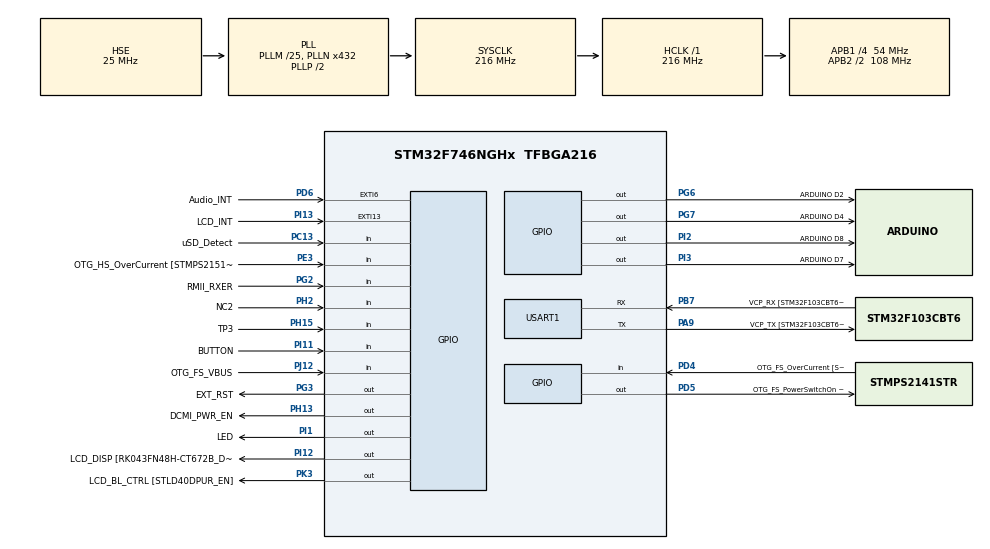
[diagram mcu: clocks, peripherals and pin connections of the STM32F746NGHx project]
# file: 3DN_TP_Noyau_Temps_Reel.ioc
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FREERTOS.Tasks01=defaultTask,0,128,StartDefaultTask,Default,NULL,Dynamic,NULL,NULL
FREERTOS.configCHECK_FOR_STACK_OVERFLOW=2
FREERTOS.configGENERATE_RUN_TIME_STATS=1
FREERTOS.configUSE_STATS_FORMATTING_FUNCTIONS=1
FREERTOS.configUSE_TRACE_FACILITY=1
Mcu.Family=STM32F7
Mcu.Name=STM32F746NGHx
Mcu.Package=TFBGA216
NVIC.PriorityGroup=NVIC_PRIORITYGROUP_4
PA0/WKUP.GPIO_Label=ARDUINO A0
PA0/WKUP.GPIO_Mode=GPIO_MODE_ANALOG
PA0/WKUP.GPIO_PuPd=GPIO_NOPULL
PA0/WKUP.Signal=ADCx_IN0
PA1.GPIO_Label=RMII_REF_CLK [LAN8742A-CZ-TR_REFCLK0]
PA1.Signal=ETH_REF_CLK
PA10.GPIO_Label=OTG_FS_ID
PA10.Signal=USB_OTG_FS_ID
PA11.GPIO_Label=OTG_FS_N
PA11.Signal=USB_OTG_FS_DM
PA12.GPIO_Label=OTG_FS_P
PA12.Signal=USB_OTG_FS_DP
PA13.GPIO_Label=SWDIO
PA13.Mode=Trace_Asynchronous_SW
PA13.Signal=SYS_JTMS-SWDIO
PA14.GPIO_Label=SWCLK
PA14.Mode=Trace_Asynchronous_SW
PA14.Signal=SYS_JTCK-SWCLK
PA15.GPIO_Label=ARDUINO PWM/D9
PA15.GPIO_ModeDefaultPP=GPIO_MODE_AF_PP
PA15.GPIO_PuPd=GPIO_NOPULL
PA15.GPIO_Speed=GPIO_SPEED_FREQ_LOW
PA15.Signal=S_TIM2_CH1_ETR
PA2.GPIO_Label=RMII_MDIO [LAN8742A-CZ-TR_MDIO]
PA2.Signal=ETH_MDIO
PA3.GPIO_Label=ULPI_D0 [USB3320C-EZK_D0]
PA3.Signal=USB_OTG_HS_ULPI_D0
PA4.GPIO_Label=DCMI_HSYNC
PA4.Signal=DCMI_HSYNC
PA5.GPIO_Label=ULPI_CLK [USB3320C-EZK_CLKOUT]
PA5.Signal=USB_OTG_HS_ULPI_CK
PA6.Signal=DCMI_PIXCLK
PA7.GPIO_Label=RMII_CRS_DV [LAN8742A-CZ-TR_CRS_DV]
PA7.Signal=ETH_CRS_DV
PA8.GPIO_Label=ARDUINO PWM/D10
PA8.GPIO_ModeDefaultPP=GPIO_MODE_AF_PP
PA8.GPIO_PuPd=GPIO_NOPULL
PA8.GPIO_Speed=GPIO_SPEED_FREQ_LOW
PA8.Signal=S_TIM1_CH1
PA9.GPIO_Label=VCP_TX [STM32F103CBT6_PA3]
PA9.GPIO_Mode=GPIO_MODE_AF_PP
PA9.GPIO_PuPd=GPIO_NOPULL
PA9.GPIO_Speed=GPIO_SPEED_FREQ_LOW
PA9.Mode=Asynchronous
PA9.Signal=USART1_TX
PB0.GPIO_Label=ULPI_D1 [USB3320C-EZK_D1]
PB0.Signal=USB_OTG_HS_ULPI_D1
PB1.GPIO_Label=ULPI_D2 [USB3320C-EZK_D2]
PB1.Signal=USB_OTG_HS_ULPI_D2
PB10.GPIO_Label=ULPI_D3 [USB3320C-EZK_D3]
PB10.Signal=USB_OTG_HS_ULPI_D3
PB11.GPIO_Label=ULPI_D4 [USB3320C-EZK_D4]
PB11.Signal=USB_OTG_HS_ULPI_D4
PB12.GPIO_Label=ULPI_D5 [USB3320C-EZK_D5]
PB12.Signal=USB_OTG_HS_ULPI_D5
PB13.GPIO_Label=ULPI_D6 [USB3320C-EZK_D6]
PB13.Signal=USB_OTG_HS_ULPI_D6
PB14.GPIO_Label=ARDUINO MISO/D12
PB14.GPIO_Mode=GPIO_MODE_AF_PP
PB14.GPIO_PuPd=GPIO_NOPULL
PB14.GPIO_Speed=GPIO_SPEED_FREQ_LOW
PB14.Signal=SPI2_MISO
PB15.GPIO_Label=ARDUINO MOSI/PWM/D11
PB15.GPIO_Mode=GPIO_MODE_AF_PP
PB15.GPIO_PuPd=GPIO_NOPULL
PB15.GPIO_Speed=GPIO_SPEED_FREQ_LOW
PB15.Signal=SPI2_MOSI
PB2.Signal=QUADSPI_CLK
PB3.GPIO_Label=SWO
PB3.Mode=Trace_Asynchronous_SW
PB3.Signal=SYS_JTDO-SWO
PB4.GPIO_Label=ARDUINO PWM/D3
PB4.GPIO_ModeDefaultPP=GPIO_MODE_AF_PP
PB4.GPIO_PuPd=GPIO_NOPULL
PB4.GPIO_Speed=GPIO_SPEED_FREQ_LOW
PB4.Signal=S_TIM3_CH1
PB5.GPIO_Label=ULPI_D7 [USB3320C-EZK_D7]
PB5.Signal=USB_OTG_HS_ULPI_D7
PB6.GPIO_Label=QSPI_NCS [N25Q128A13EF840E_S]
PB6.Signal=QUADSPI_BK1_NCS
PB7.GPIO_Label=VCP_RX [STM32F103CBT6_PA2]
PB7.GPIO_Mode=GPIO_MODE_AF_PP
PB7.GPIO_PuPd=GPIO_NOPULL
PB7.GPIO_Speed=GPIO_SPEED_FREQ_LOW
PB7.Mode=Asynchronous
PB7.Signal=USART1_RX
PB8.GPIO_Label=ARDUINO SCL/D15
PB8.GPIO_Mode=GPIO_MODE_AF_OD
PB8.GPIO_PuPd=GPIO_NOPULL
PB8.GPIO_Speed=GPIO_SPEED_FREQ_LOW
PB8.Signal=I2C1_SCL
PB9.GPIO_Label=ARDUINO SDA/D14
PB9.GPIO_Mode=GPIO_MODE_AF_OD
PB9.GPIO_PuPd=GPIO_NOPULL
PB9.GPIO_Speed=GPIO_SPEED_FREQ_LOW
PB9.Signal=I2C1_SDA
PC0.GPIO_Label=ULPI_STP [USB3320C-EZK_STP]
PC0.Signal=USB_OTG_HS_ULPI_STP
PC1.GPIO_Label=RMII_MDC [LAN8742A-CZ-TR_MDC]
PC1.Signal=ETH_MDC
PC10.GPIO_Label=SDMMC_D2
PC10.Signal=SDMMC1_D2
PC11.GPIO_Label=SDMMC_D3
PC11.Signal=SDMMC1_D3
PC12.GPIO_Label=SDMMC_CK
PC12.Signal=SDMMC1_CK
PC13.GPIO_Label=uSD_Detect
PC13.Signal=GPIO_Input
PC14/OSC32_IN.GPIO_Label=RCC_OSC32_IN
PC14/OSC32_IN.Mode=LSE-External-Oscillator
PC14/OSC32_IN.Signal=RCC_OSC32_IN
PC15/OSC32_OUT.GPIO_Label=RCC_OSC32_OUT
PC15/OSC32_OUT.Mode=LSE-External-Oscillator
PC15/OSC32_OUT.Signal=RCC_OSC32_OUT
PC2.GPIO_Label=ULPI_DIR [USB3320C-EZK_DIR]
PC2.Signal=USB_OTG_HS_ULPI_DIR
PC3.GPIO_Label=FMC_SDCKE0 [MT48LC4M32B2B5-6A_CKE]
PC3.Signal=FMC_SDCKE0
PC4.GPIO_Label=RMII_RXD0 [LAN8742A-CZ-TR_RXD0]
PC4.Signal=ETH_RXD0
PC5.GPIO_Label=RMII_RXD1 [LAN8742A-CZ-TR_RXD1]
PC5.Signal=ETH_RXD1
PC6.GPIO_Label=ARDUINO TX/D1
PC6.Signal=USART6_TX
PC7.GPIO_Label=ARDUINO RX/D0
PC7.Signal=USART6_RX
PC8.Signal=SDMMC1_D0
PC9.Signal=SDMMC1_D1
PD0.GPIO_Label=FMC_D2 [MT48LC4M32B2B5-6A_DQ2]
PD0.Signal=FMC_D2_DA2
PD1.GPIO_Label=FMC_D3 [MT48LC4M32B2B5-6A_DQ3]
PD1.Signal=FMC_D3_DA3
PD10.GPIO_Label=FMC_D15 [MT48LC4M32B2B5-6A_DQ15]
PD10.Signal=FMC_D15_DA15
PD11.GPIO_Label=QSPI_D0 [N25Q128A13EF840E_DQ0]
PD11.Signal=QUADSPI_BK1_IO0
PD12.GPIO_Label=QSPI_D1 [N25Q128A13EF840E_DQ1]
PD12.Signal=QUADSPI_BK1_IO1
PD13.GPIO_Label=QSPI_D3 [N25Q128A13EF840E_DQ3]
PD13.Signal=QUADSPI_BK1_IO3
PD14.GPIO_Label=FMC_D0 [MT48LC4M32B2B5-6A_DQ0]
PD14.Signal=FMC_D0_DA0
PD15.GPIO_Label=FMC_D1 [MT48LC4M32B2B5-6A_DQ1]
PD15.Signal=FMC_D1_DA1
PD2.GPIO_Label=SDMMC_D0
PD2.Signal=SDMMC1_CMD
PD3.GPIO_Label=DCMI_D5
PD3.Signal=DCMI_D5
PD4.GPIO_Label=OTG_FS_OverCurrent [STMPS2141STR_Fault]
PD4.Signal=GPIO_Input
PD5.GPIO_Label=OTG_FS_PowerSwitchOn [STMPS2141STR_EN]
PD5.PinState=GPIO_PIN_SET
PD5.Signal=GPIO_Output
PD6.GPIO_Label=Audio_INT
PD6.GPIO_ModeDefaultEXTI=GPIO_MODE_EVT_RISING
PD6.Signal=GPXTI6
PD7.GPIO_Label=SPDIF_RX0 [74LVC1G04SE_4]
PD7.Signal=SPDIFRX_IN0
PD8.GPIO_Label=FMC_D13 [MT48LC4M32B2B5-6A_DQ13]
PD8.Signal=FMC_D13_DA13
PD9.GPIO_Label=FMC_D14 [MT48LC4M32B2B5-6A_DQ14]
PD9.Signal=FMC_D14_DA14
PE0.GPIO_Label=FMC_NBL0 [MT48LC4M32B2B5-6A_DQM0]
PE0.Signal=FMC_NBL0
PE1.GPIO_Label=FMC_NBL1 [MT48LC4M32B2B5-6A_DQM1]
PE1.Signal=FMC_NBL1
PE10.GPIO_Label=FMC_D7 [MT48LC4M32B2B5-6A_DQ7]
PE10.Signal=FMC_D7_DA7
PE11.GPIO_Label=FMC_D8 [MT48LC4M32B2B5-6A_DQ8]
PE11.Signal=FMC_D8_DA8
PE12.GPIO_Label=FMC_D9 [MT48LC4M32B2B5-6A_DQ9]
PE12.Signal=FMC_D9_DA9
PE13.GPIO_Label=FMC_D10 [MT48LC4M32B2B5-6A_DQ10]
PE13.Signal=FMC_D10_DA10
PE14.GPIO_Label=FMC_D11 [MT48LC4M32B2B5-6A_DQ11]
PE14.Signal=FMC_D11_DA11
PE15.GPIO_Label=FMC_D12 [MT48LC4M32B2B5-6A_DQ12]
PE15.Signal=FMC_D12_DA12
PE2.GPIO_Label=QSPI_D2 [N25Q128A13EF840E_DQ2]
PE2.Signal=QUADSPI_BK1_IO2
PE3.GPIO_Label=OTG_HS_OverCurrent [STMPS2151STR_FAULT]
PE3.Signal=GPIO_Input
PE4.GPIO_Label=LCD_B0 [RK043FN48H-CT672B_B0]
PE4.Signal=LTDC_B0
PE5.GPIO_Label=DCMI_D6
PE5.Signal=DCMI_D6
PE6.GPIO_Label=DCMI_D7
PE6.Signal=DCMI_D7
PE7.GPIO_Label=FMC_D4 [MT48LC4M32B2B5-6A_DQ4]
PE7.Signal=FMC_D4_DA4
PE8.GPIO_Label=FMC_D5 [MT48LC4M32B2B5-6A_DQ5]
PE8.Signal=FMC_D5_DA5
PE9.GPIO_Label=FMC_D6 [MT48LC4M32B2B5-6A_DQ6]
PE9.Signal=FMC_D6_DA6
PF0.GPIO_Label=FMC_A0 [MT48LC4M32B2B5-6A_A0]
PF0.Signal=FMC_A0
PF1.GPIO_Label=FMC_A1 [MT48LC4M32B2B5-6A_A1]
PF1.Signal=FMC_A1
PF10.GPIO_Label=ARDUINO A1
PF10.GPIO_Mode=GPIO_MODE_ANALOG
PF10.GPIO_PuPd=GPIO_NOPULL
PF10.Signal=ADC3_IN8
PF11.GPIO_Label=FMC_SDNRAS [MT48LC4M32B2B5-6A_RAS]
PF11.Signal=FMC_SDNRAS
PF12.GPIO_Label=FMC_A6 [MT48LC4M32B2B5-6A_A6]
PF12.Signal=FMC_A6
PF13.GPIO_Label=FMC_A7 [MT48LC4M32B2B5-6A_A7]
PF13.Signal=FMC_A7
PF14.GPIO_Label=FMC_A8 [MT48LC4M32B2B5-6A_A8]
PF14.Signal=FMC_A8
PF15.GPIO_Label=FMC_A9 [MT48LC4M32B2B5-6A_A9]
PF15.Signal=FMC_A9
PF2.GPIO_Label=FMC_A2 [MT48LC4M32B2B5-6A_A2]
PF2.Signal=FMC_A2
PF3.GPIO_Label=FMC_A3 [MT48LC4M32B2B5-6A_A3]
PF3.Signal=FMC_A3
PF4.GPIO_Label=FMC_A4 [MT48LC4M32B2B5-6A_A4]
PF4.Signal=FMC_A4
PF5.GPIO_Label=FMC_A5 [MT48LC4M32B2B5-6A_A5]
PF5.Signal=FMC_A5
PF6.GPIO_Label=ARDUINO A5
PF6.GPIO_Mode=GPIO_MODE_ANALOG
PF6.GPIO_PuPd=GPIO_NOPULL
PF6.Signal=ADC3_IN4
PF7.GPIO_Label=ARDUINO A4
PF7.GPIO_Mode=GPIO_MODE_ANALOG
PF7.GPIO_PuPd=GPIO_NOPULL
PF7.Signal=ADC3_IN5
PF8.GPIO_Label=ARDUINO A3
PF8.GPIO_Mode=GPIO_MODE_ANALOG
PF8.GPIO_PuPd=GPIO_NOPULL
PF8.Signal=ADC3_IN6
PF9.GPIO_Label=ARDUINO A2
PF9.GPIO_Mode=GPIO_MODE_ANALOG
PF9.GPIO_PuPd=GPIO_NOPULL
PF9.Signal=ADC3_IN7
PG0.GPIO_Label=FMC_A10 [MT48LC4M32B2B5-6A_A10]
PG0.Signal=FMC_A10
PG1.GPIO_Label=FMC_A11 [MT48LC4M32B2B5-6A_A11]
PG1.Signal=FMC_A11
PG10.GPIO_Label=SAI2_SDB [WM8994ECS/R_ADCDAT1]
PG10.Signal=SAI2_SD_B
PG11.GPIO_Label=RMII_TX_EN [LAN8742A-CZ-TR_TXEN]
PG11.Signal=ETH_TX_EN
PG12.GPIO_Label=LCD_B4 [RK043FN48H-CT672B_B4]
PG12.Signal=LTDC_B4
PG13.GPIO_Label=RMII_TXD0 [LAN8742A-CZ-TR_TXD0]
PG13.Signal=ETH_TXD0
PG14.GPIO_Label=RMII_TXD1 [LAN8742A-CZ-TR_TXD1]
PG14.Signal=ETH_TXD1
PG15.GPIO_Label=FMC_SDNCAS [MT48LC4M32B2B5-6A_CAS]
PG15.Signal=FMC_SDNCAS
PG2.GPIO_Label=RMII_RXER
PG2.Signal=GPIO_Input
PG3.GPIO_Label=EXT_RST
PG3.Signal=GPIO_Output
PG4.GPIO_Label=FMC_BA0 [MT48LC4M32B2B5-6A_BA0]
PG4.Signal=FMC_A14_BA0
PG5.GPIO_Label=FMC_BA1 [MT48LC4M32B2B5-6A_BA1]
PG5.Signal=FMC_A15_BA1
PG6.GPIO_Label=ARDUINO D2
PG6.Signal=GPIO_Output
PG7.GPIO_Label=ARDUINO D4
PG7.Signal=GPIO_Output
PG8.GPIO_Label=FMC_SDCLK [MT48LC4M32B2B5-6A_CLK]
PG8.Signal=FMC_SDCLK
PG9.GPIO_Label=DCMI_VSYNC
PG9.Signal=DCMI_VSYNC
PH0/OSC_IN.GPIO_Label=OSC_25M [NZ2520SB-25.00M_OUT]
PH0/OSC_IN.Mode=HSE-External-Oscillator
PH0/OSC_IN.Signal=RCC_OSC_IN
PH1/OSC_OUT.Mode=HSE-External-Oscillator
PH1/OSC_OUT.Signal=RCC_OSC_OUT
PH10.GPIO_Label=DCMI_D1
PH10.Signal=DCMI_D1
PH11.GPIO_Label=DCMI_D2
PH11.Signal=DCMI_D2
PH12.GPIO_Label=DCMI_D3
PH12.Signal=DCMI_D3
PH13.GPIO_Label=DCMI_PWR_EN
PH13.Signal=GPIO_Output
PH14.GPIO_Label=DCMI_D4
PH14.Signal=DCMI_D4
PH15.GPIO_Label=TP3
PH15.Signal=GPIO_Input
PH2.GPIO_Label=NC2
PH2.Signal=GPIO_Input
PH3.GPIO_Label=FMC_SDNE0 [MT48LC4M32B2B5-6A_CS]
PH3.Signal=FMC_SDNE0
PH4.GPIO_Label=ULPI_NXT [USB3320C-EZK_NXT]
PH4.Signal=USB_OTG_HS_ULPI_NXT
PH5.GPIO_Label=FMC_SDNME [MT48LC4M32B2B5-6A_WE]
PH5.Signal=FMC_SDNWE
PH6.GPIO_Label=ARDUINO PWM/D6
PH6.Signal=S_TIM12_CH1
PH7.GPIO_Label=LCD_SCL [RK043FN48H-CT672B_SCL]
PH7.Signal=I2C3_SCL
PH8.GPIO_Label=LCD_SDA [RK043FN48H-CT672B_SDA]
PH8.Signal=I2C3_SDA
PH9.GPIO_Label=DCMI_D0
PH9.Signal=DCMI_D0
PI0.GPIO_Label=ARDUINO PWM/CS/D5
PI0.GPIO_ModeDefaultPP=GPIO_MODE_AF_PP
PI0.GPIO_PuPd=GPIO_NOPULL
PI0.GPIO_Speed=GPIO_SPEED_FREQ_LOW
PI0.Signal=S_TIM5_CH4
PI1.GPIO_Label=LED
PI1.Signal=GPIO_Output
PI10.GPIO_Label=LCD_HSYNC [RK043FN48H-CT672B_HSYNC]
PI10.Signal=LTDC_HSYNC
PI11.GPIO_Label=BUTTON
PI11.Signal=GPIO_Input
PI12.GPIO_Label=LCD_DISP [RK043FN48H-CT672B_DISP] 
PI12.Signal=GPIO_Output
PI13.GPIO_Label=LCD_INT
PI13.GPIO_ModeDefaultEXTI=GPIO_MODE_EVT_RISING
PI13.Signal=GPXTI13
PI14.GPIO_Label=LCD_CLK [RK043FN48H-CT672B_CLK]
PI14.Signal=LTDC_CLK
PI15.GPIO_Label=LCD_R0 [RK043FN48H-CT672B_R0]
PI15.Signal=LTDC_R0
PI2.GPIO_Label=ARDUINO D8
PI2.Signal=GPIO_Output
PI3.GPIO_Label=ARDUINO D7
PI3.Signal=GPIO_Output
PI4.GPIO_Label=SAI2_MCLKA [WM8994ECS/R_MCLK1]
PI4.Signal=SAI2_MCLK_A
PI5.GPIO_Label=SAI2_SCKA [WM8994ECS/R_BCLK1]
PI5.Signal=SAI2_SCK_A
PI6.GPIO_Label=SAI2_SDA [WM8994ECS/R_DACDAT1]
PI6.Signal=SAI2_SD_A
PI7.GPIO_Label=SAI2_FSA [WM8994ECS/R_LRCLK1]
PI7.Signal=SAI2_FS_A
PI8.GPIO_Label=NC1 [TP2]
PI8.Signal=RTC_TS
PI9.GPIO_Label=LCD_VSYNC [RK043FN48H-CT672B_VSYNC]
PI9.Signal=LTDC_VSYNC
PJ0.GPIO_Label=LCD_R1 [RK043FN48H-CT672B_R1]
PJ0.Signal=LTDC_R1
PJ1.GPIO_Label=LCD_R2 [RK043FN48H-CT672B_R2]
PJ1.Signal=LTDC_R2
PJ10.GPIO_Label=LCD_G3 [RK043FN48H-CT672B_G3]
PJ10.Signal=LTDC_G3
PJ11.GPIO_Label=LCD_G4 [RK043FN48H-CT672B_G4]
PJ11.Signal=LTDC_G4
PJ12.GPIO_Label=OTG_FS_VBUS
PJ12.Signal=GPIO_Input
PJ13.GPIO_Label=LCD_B1 [RK043FN48H-CT672B_B1]
PJ13.Signal=LTDC_B1
PJ14.GPIO_Label=LCD_B2 [RK043FN48H-CT672B_B2]
PJ14.Signal=LTDC_B2
PJ15.GPIO_Label=LCD_B3 [RK043FN48H-CT672B_B3]
PJ15.Signal=LTDC_B3
PJ2.GPIO_Label=LCD_R3 [RK043FN48H-CT672B_R3]
PJ2.Signal=LTDC_R3
PJ3.GPIO_Label=LCD_R4 [RK043FN48H-CT672B_R4]
PJ3.Signal=LTDC_R4
PJ4.GPIO_Label=LCD_R5 [RK043FN48H-CT672B_R5]
PJ4.Signal=LTDC_R5
PJ5.GPIO_Label=LCD_R6 [RK043FN48H-CT672B_R6]
PJ5.Signal=LTDC_R6
PJ6.GPIO_Label=LCD_R7 [RK043FN48H-CT672B_R7]
PJ6.Signal=LTDC_R7
PJ7.GPIO_Label=LCD_G0 [RK043FN48H-CT672B_G0]
PJ7.Signal=LTDC_G0
PJ8.GPIO_Label=LCD_G1 [RK043FN48H-CT672B_G1]
PJ8.Signal=LTDC_G1
PJ9.GPIO_Label=LCD_G2 [RK043FN48H-CT672B_G2]
PJ9.Signal=LTDC_G2
PK0.GPIO_Label=LCD_G5 [RK043FN48H-CT672B_G5]
PK0.Signal=LTDC_G5
PK1.GPIO_Label=LCD_G6 [RK043FN48H-CT672B_G6]
PK1.Signal=LTDC_G6
PK2.GPIO_Label=LCD_G7 [RK043FN48H-CT672B_G7]
PK2.Signal=LTDC_G7
PK3.GPIO_Label=LCD_BL_CTRL [STLD40DPUR_EN]
PK3.Signal=GPIO_Output
PK4.GPIO_Label=LCD_B5 [RK043FN48H-CT672B_B5]
PK4.Signal=LTDC_B5
PK5.GPIO_Label=LCD_B6 [RK043FN48H-CT672B_B6]
PK5.Signal=LTDC_B6
PK6.GPIO_Label=LCD_B7 [RK043FN48H-CT672B_B7]
PK6.Signal=LTDC_B7
PK7.GPIO_Label=LCD_DE [RK043FN48H-CT672B_DE]
PK7.Signal=LTDC_DE
ProjectManager.HeapSize=0x200
ProjectManager.StackSize=0x400
ProjectManager.TargetToolchain=STM32CubeIDE
RCC.AHBFreq_Value=216000000
RCC.APB1CLKDivider=RCC_HCLK_DIV4
RCC.APB1Freq_Value=54000000
RCC.APB1TimFreq_Value=108000000
RCC.APB2CLKDivider=RCC_HCLK_DIV2
RCC.APB2Freq_Value=108000000
RCC.APB2TimFreq_Value=216000000
RCC.CortexFreq_Value=216000000
RCC.HCLKFreq_Value=216000000
RCC.HSE_VALUE=25000000
RCC.HSI_VALUE=16000000
RCC.PLLM=25
RCC.PLLN=432
RCC.PLLSourceVirtual=RCC_PLLSOURCE_HSE
RCC.SYSCLKFreq_VALUE=216000000
RCC.SYSCLKSource=RCC_SYSCLKSOURCE_PLLCLK
RCC.USBFreq_Value=216000000
RCC.VCOOutputFreq_Value=432000000
SH.ADCx_IN0.0=ADC3_IN0
SH.FMC_A0.0=FMC_A0
SH.FMC_A1.0=FMC_A1
SH.FMC_A10.0=FMC_A10
SH.FMC_A11.0=FMC_A11
SH.FMC_A14_BA0.0=FMC_BA0
SH.FMC_A15_BA1.0=FMC_BA1
SH.FMC_A2.0=FMC_A2
SH.FMC_A3.0=FMC_A3
SH.FMC_A4.0=FMC_A4
SH.FMC_A5.0=FMC_A5
SH.FMC_A6.0=FMC_A6
SH.FMC_A7.0=FMC_A7
SH.FMC_A8.0=FMC_A8
SH.FMC_A9.0=FMC_A9
SH.FMC_D0_DA0.0=FMC_D0
SH.FMC_D10_DA10.0=FMC_D10
SH.FMC_D11_DA11.0=FMC_D11
SH.FMC_D12_DA12.0=FMC_D12
SH.FMC_D13_DA13.0=FMC_D13
SH.FMC_D14_DA14.0=FMC_D14
SH.FMC_D15_DA15.0=FMC_D15
SH.FMC_D1_DA1.0=FMC_D1
SH.FMC_D2_DA2.0=FMC_D2
SH.FMC_D3_DA3.0=FMC_D3
SH.FMC_D4_DA4.0=FMC_D4
SH.FMC_D5_DA5.0=FMC_D5
SH.FMC_D6_DA6.0=FMC_D6
SH.FMC_D7_DA7.0=FMC_D7
SH.FMC_D8_DA8.0=FMC_D8
SH.FMC_D9_DA9.0=FMC_D9
SH.FMC_NBL0.0=FMC_NBL0
SH.FMC_NBL1.0=FMC_NBL1
SH.FMC_SDCLK.0=FMC_SDCLK
SH.FMC_SDNCAS.0=FMC_SDNCAS
SH.FMC_SDNRAS.0=FMC_SDNRAS
SH.FMC_SDNWE.0=FMC_SDNWE
SH.S_TIM12_CH1.0=TIM12_CH1
SH.S_TIM1_CH1.0=TIM1_CH1
SH.S_TIM2_CH1_ETR.0=TIM2_CH1
SH.S_TIM3_CH1.0=TIM3_CH1
SH.S_TIM5_CH4.0=TIM5_CH4
USART1.VirtualMode-Asynchronous=VM_ASYNC
VP_FREERTOS_VS_CMSIS_V1.Mode=CMSIS_V1
board=STM32F746G-DISCO

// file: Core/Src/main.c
/* USER CODE BEGIN Header */
/**
 ******************************************************************************
 * @file           : main.c
 * @brief          : Main program body
 ******************************************************************************
 * @attention
 *
 * Copyright (c) 2025 STMicroelectronics.
 * All rights reserved.
 *
 * This software is licensed under terms that can be found in the LICENSE file
 * in the root directory of this software component.
 * If no LICENSE file comes with this software, it is provided AS-IS.
 *
 ******************************************************************************
 */
/* USER CODE END Header */
#include "main.h"
#include "cmsis_os.h"
#include "usart.h"
#include "gpio.h"

/* USER CODE BEGIN Includes */
#include "stdio.h"
#include "FreeRTOS.h"
#include "task.h"
#include "semphr.h"
#include "drv_uart1.h"
#include "shell.h"
/* USER CODE END Includes */

/* USER CODE BEGIN PD */
#define STACK_SIZE 256
#define TASK1_PRIORITY 1
#define TASK2_PRIORITY 2
#define TASK1_DELAY 1
#define TASK2_DELAY 2
/* USER CODE END PD */

/* USER CODE BEGIN PV */
SemaphoreHandle_t xSemaphore;
uint32_t delay_ms = 100;
extern TaskHandle_t xTaskTakeHandle;
TaskHandle_t xTaskTakeHandle = NULL;
QueueHandle_t xQueue;

BaseType_t ret;
SemaphoreHandle_t mutexPrintf;
static h_shell_t mon_shell;

TaskHandle_t ledTaskHandle = NULL;
volatile uint32_t led_period_ms = 0;

volatile uint32_t spam_count = 0;
char spam_msg[BUFFER_SIZE] = "spam";
TaskHandle_t spamTaskHandle = NULL;

SemaphoreHandle_t mySemaphore;
/* USER CODE END PV */

void SystemClock_Config(void);
void MX_FREERTOS_Init(void);
/* USER CODE BEGIN PFP */
int __io_putchar(int chr)
{
	HAL_UART_Transmit(&huart1, (uint8_t *)&chr, 1, HAL_MAX_DELAY);
	return chr;
}

void LedTask(void *pvParameters)
{
	while (1)
	{
		if (led_period_ms == 0)
		{
			HAL_GPIO_WritePin(LED_GPIO_Port, LED_Pin, GPIO_PIN_RESET);
			vTaskSuspend(NULL);
		}
		else
		{
			HAL_GPIO_TogglePin(LED_GPIO_Port, LED_Pin);
			vTaskDelay(pdMS_TO_TICKS(led_period_ms / 2));
		}
	}
}

/*
void taskGive(void *pvParameters)
{
	for (;;)
	{
		printf("taskGive: avant xSemaphoreGive()\r\n");
		xSemaphoreGive(xSemaphore);
		printf("taskGive: après xSemaphoreGive()\r\n");

		vTaskDelay(pdMS_TO_TICKS(delay_ms));

		// Incrémente le délai de 100ms à chaque tour
		delay_ms += 100;
	}
}

void taskTake(void *pvParameters)
{
	for (;;)
	{
		printf("taskTake: en attente de sémaphore...\r\n");
		if (xSemaphoreTake(xSemaphore, pdMS_TO_TICKS(1000)) == pdTRUE)
		{
			printf("taskTake: sémaphore acquis !\r\n");
		}
		else
		{
			printf("taskTake: Timeout! Sémaphore non acquis.\r\n");
			// Reset software STM32
			NVIC_SystemReset();
		}
	}
}*/
/*
void taskGive(void *pvParameters)
{
	for (;;)
	{
		printf("taskGive: avant xTaskNotifyGive()\r\n");
		xTaskNotifyGive(xTaskTakeHandle);
		printf("taskGive: après xTaskNotifyGive()\r\n");

		vTaskDelay(pdMS_TO_TICKS(delay_ms));
		delay_ms += 100;
	}
}

void taskTake(void *pvParameters)
{
	xTaskTakeHandle = xTaskGetCurrentTaskHandle();

	for (;;)
	{
		printf("taskTake: en attente de notification...\r\n");

		uint32_t notif = ulTaskNotifyTake(pdTRUE, pdMS_TO_TICKS(1000));

		if (notif > 0)
		{
			printf("taskTake: notification reçue !\r\n");
		}
		else
		{
			printf("taskTake: Timeout! Aucune notification reçue.\r\n");
			NVIC_SystemReset();
		}
	}
}
 */
/*
void taskGive(void *pvParameters)
{
	TickType_t timerValue;

	for (;;)
	{
		timerValue = HAL_GetTick();
		printf("taskGive: envoi de %lu dans la queue\r\n", timerValue);

		if (xQueueSend(xQueue, &timerValue, portMAX_DELAY) != pdPASS)
		{
			printf("taskGive: ERREUR d'envoi dans la queue !\r\n");
		}

		vTaskDelay(pdMS_TO_TICKS(delay_ms));
		delay_ms += 100;
	}
}

void taskTake(void *pvParameters)
{
	TickType_t receivedValue;

	for (;;)
	{
		printf("taskTake: attente d'une valeur dans la queue...\r\n");

		if (xQueueReceive(xQueue, &receivedValue, pdMS_TO_TICKS(1000)) == pdTRUE)
		{
			printf("taskTake: reçu %lu depuis la queue !\r\n", receivedValue);
		}
		else
		{
			printf("taskTake: Timeout! Aucune donnée reçue.\r\n");
			NVIC_SystemReset();
		}
	}
}*/
/*
void task_bug(void * pvParameters)
{
	int delay = (int) pvParameters;
	for(;;)
	{
		xSemaphoreTake(mutexPrintf, portMAX_DELAY);
		printf("Je suis %s et je m'endors pour \%d ticks\r\n", pcTaskGetName(NULL), delay);
		xSemaphoreGive(mutexPrintf);
		vTaskDelay(delay);
	}
}*/

int ma_fonction_test(h_shell_t * h_shell, int argc, char ** argv)
{
	int size;
	size = snprintf(h_shell->print_buffer, BUFFER_SIZE, "Fonction test appelee avec %d argument(s)\r\n", argc);
	h_shell->drv.transmit(h_shell->print_buffer, size);

	for(int i = 0; i < argc; i++) {
		size = snprintf(h_shell->print_buffer, BUFFER_SIZE, "argv[%d] = %s\r\n", i, argv[i]);
		h_shell->drv.transmit(h_shell->print_buffer, size);
	}

	return 0;
}

void shellTask(void * pvParameters)
{
	shell_run(&mon_shell);
}

int led_shell_func(h_shell_t * h_shell, int argc, char ** argv)
{
	if (argc < 2)
	{
		int len = snprintf(h_shell->print_buffer, BUFFER_SIZE, "Usage: l <periode_ms>\r\n");
		h_shell->drv.transmit(h_shell->print_buffer, len);
		return -1;
	}

	led_period_ms = atoi(argv[1]);

	if (led_period_ms > 0)
	{
		if (eTaskGetState(ledTaskHandle) == eSuspended)
		{
			vTaskResume(ledTaskHandle);
		}
	}

	int len = snprintf(h_shell->print_buffer, BUFFER_SIZE,
			"Clignotement LED %s (periode = %lu ms)\r\n",
			led_period_ms == 0 ? "désactivé" : "activé", led_period_ms);
	h_shell->drv.transmit(h_shell->print_buffer, len);

	return 0;
}

void spamTask(void *pvParameters)
{
	while (1)
	{
		if (spam_count > 0)
		{
			printf("%s\r\n", spam_msg);
			spam_count--;
		}
		vTaskDelay(pdMS_TO_TICKS(200));
	}
}

int spam_shell_func(h_shell_t * h_shell, int argc, char ** argv)
{
	if (argc < 3)
	{
		int len = snprintf(h_shell->print_buffer, BUFFER_SIZE,
				"Usage: s <message> <nombre>\r\n");
		h_shell->drv.transmit(h_shell->print_buffer, len);
		return -1;
	}

	strncpy(spam_msg, argv[1], BUFFER_SIZE - 1);
	spam_msg[BUFFER_SIZE - 1] = '\0';
	spam_count = atoi(argv[2]);

	int len = snprintf(h_shell->print_buffer, BUFFER_SIZE,
			"Spam lancé : %s x %lu\r\n", spam_msg, spam_count);
	h_shell->drv.transmit(h_shell->print_buffer, len);

	return 0;
}
/*
void dummyTask(void *pvParameters)
{
    for (;;)
    {
        vTaskDelay(pdMS_TO_TICKS(1000));
    }
}*/

void vApplicationStackOverflowHook(TaskHandle_t xTask, char *pcTaskName)
{
    char msg[100];
    int size = snprintf(msg, sizeof(msg),
        "\r\n[ERROR] Stack overflow detecté dans la tâche : %s\r\n", pcTaskName);
    HAL_UART_Transmit(&huart1, (uint8_t *)msg, size, HAL_MAX_DELAY);

    HAL_GPIO_WritePin(LED_GPIO_Port, LED_Pin, GPIO_PIN_SET);

    __disable_irq();

    while (1)
    {
        HAL_GPIO_TogglePin(LED_GPIO_Port, LED_Pin);
        for (volatile uint32_t i = 0; i < 1000000; i++);
    }
}

void recursive_overflow(void)
{
    char buffer[10000];
    (void)buffer;
    recursive_overflow();
}

void dummyTask(void *pvParameters)
{
    volatile uint32_t dummy[1000];

    // Forcer l'utilisation réelle de la pile
    for (int i = 0; i < 1000; i++) {
        ((volatile uint32_t*)dummy)[i] = i;
    }

    while (1) {
        vTaskDelay(pdMS_TO_TICKS(1000));
    }
}

int overflow_shell_func(h_shell_t * h_shell, int argc, char ** argv)
{
    int len = snprintf(h_shell->print_buffer, BUFFER_SIZE,
                       "Déclenchement du dépassement de pile...\r\n");
    h_shell->drv.transmit(h_shell->print_buffer, len);

    if (xTaskCreate(dummyTask, "OverflowTask", 64, NULL, 2, NULL) != pdPASS) {
        int len = snprintf(h_shell->print_buffer, BUFFER_SIZE, "Erreur création OverflowTask\r\n");
        h_shell->drv.transmit(h_shell->print_buffer, len);
    }

    return 0; // Jamais atteint
}
/*
void configureTimerForRunTimeStats(void)
{
    // Utiliser SysTick comme timer de stats
    // Pas très précis mais OK pour test
}

unsigned long getRunTimeCounterValue(void)
{
    return HAL_GetTick();  // Renvoie le nombre de ms écoulées
}

void producerTask(void *pvParameters)
{
    for (;;)
    {
        xSemaphoreGive(mySemaphore);
        vTaskDelay(pdMS_TO_TICKS(500));
    }
}

void consumerTask(void *pvParameters)
{
    for (;;)
    {
        if (xSemaphoreTake(mySemaphore, portMAX_DELAY)) {
            printf("Sémaphore pris !\r\n");
        }
    }
}
*/
int stats_shell_func(h_shell_t * h_shell, int argc, char ** argv)
{
    // Affichage des stats d'exécution (CPU time)
    h_shell->drv.transmit("\r\n[Run Time Stats]\r\n", 21);
    vTaskGetRunTimeStats(h_shell->print_buffer);
    h_shell->drv.transmit(h_shell->print_buffer, strlen(h_shell->print_buffer));

    // Affichage de l'état des tâches
    h_shell->drv.transmit("\r\n[Task List]\r\n", 15);
    vTaskList(h_shell->print_buffer);
    h_shell->drv.transmit(h_shell->print_buffer, strlen(h_shell->print_buffer));

    return 0;
}
/* USER CODE END PFP */

int main(void)
{

  /* MCU Configuration--------------------------------------------------------*/

  /* Reset of all peripherals, Initializes the Flash interface and the Systick. */
  HAL_Init();

  /* Configure the system clock */
  SystemClock_Config();

  /* Initialize all configured peripherals */
  MX_GPIO_Init();
  MX_USART1_UART_Init();
  /* USER CODE BEGIN 2 */
	/*if (xTaskCreate(LedTask, "LED Task", 128, NULL, 1, &ledTaskHandle) != pdPASS) {
		printf("Erreur création tâche LED\r\n");
		Error_Handler();
	}*/

	/*
	// Création du sémaphore binaire
	xSemaphore = xSemaphoreCreateBinary();
	if (xSemaphore == NULL) {
		Error_Handler();
	}

	if (xTaskCreate(taskGive, "Give", 128, NULL, 1, NULL) != pdPASS) {
    	printf("Erreur création tâche Give\r\n");
    	Error_Handler();
	}
	if (xTaskCreate(taskTake, "Take", 128, NULL, 2, NULL) != pdPASS) {
    	printf("Erreur création tâche Take\r\n");
    	Error_Handler();
	}
	 */

	/*
	if (xTaskCreate(taskGive, "Give", 128, NULL, 1, NULL) != pdPASS) {
    	printf("Erreur création tâche Give\r\n");
    	Error_Handler();
	}
	if (xTaskCreate(taskTake, "Take", 128, NULL, 2, &xTaskTakeHandle) != pdPASS) {
    	printf("Erreur création tâche Take\r\n");
    	Error_Handler();
	} */
	/*
	xQueue = xQueueCreate(5, sizeof(TickType_t));
	if (xQueue == NULL) {
		Error_Handler(); // Erreur de création
	}

	if (xTaskCreate(taskGive, "Give", 128, NULL, 1, NULL) != pdPASS) {
    	printf("Erreur création tâche Give\r\n");
    	Error_Handler();
	}
	if (xTaskCreate(taskTake, "Take", 128, NULL, 2, NULL) != pdPASS) {
    	printf("Erreur création tâche Take\r\n");
    	Error_Handler();
	}*/
	/*
	mutexPrintf = xSemaphoreCreateMutex();
	if (mutexPrintf == NULL) {
		Error_Handler();
	}

	ret = xTaskCreate(task_bug, "Tache 1", STACK_SIZE, \
			(void *) TASK1_DELAY, TASK1_PRIORITY, NULL);
	configASSERT(pdPASS == ret);
	ret = xTaskCreate(task_bug, "Tache 2", STACK_SIZE, \
			(void *) TASK2_DELAY, TASK2_PRIORITY, NULL);
	configASSERT(pdPASS == ret);*/

	mon_shell.drv.receive = drv_uart1_receive;
	mon_shell.drv.transmit = drv_uart1_transmit;

	shell_init(&mon_shell);
	if (shell_add(&mon_shell, 't', ma_fonction_test, "Fonction test utilisateur") != 0) {
	    printf("Erreur ajout commande shell t\r\n");
	    Error_Handler();
	}
	if (xTaskCreate(shellTask, "Shell", 512, NULL, 1, NULL) != pdPASS) {
	    	printf("Erreur création tâche Shell\r\n");
	    	Error_Handler();
		}
	if (xTaskCreate(LedTask, "LED Task", 128, NULL, 1, &ledTaskHandle) != pdPASS) {
	    	printf("Erreur création tâche LED Task\r\n");
	    	Error_Handler();
		}
	if (shell_add(&mon_shell, 'l', led_shell_func, "Contrôle de la LED") != 0) {
	    printf("Erreur ajout commande shell t\r\n");
	    Error_Handler();
	}

	if (xTaskCreate(spamTask, "Spam", 256, NULL, 1, &spamTaskHandle) != pdPASS) {
	    	printf("Erreur création tâche Spam\r\n");
	    	Error_Handler();
		}
	if (shell_add(&mon_shell, 's', spam_shell_func, "Affiche un message plusieurs fois") != 0) {
	    printf("Erreur ajout commande shell t\r\n");
	    Error_Handler();
	}
	/*
	for (int i = 0; i < 100; i++) {
	    if (xTaskCreate(dummyTask, "Dummy", 128, NULL, 1, NULL) != pdPASS) {
	        printf("Erreur creation tache dummy %d\r\n", i);
	        Error_Handler();
	    }
	}*/

	if (shell_add(&mon_shell, 'o', overflow_shell_func, "Déclenche un overflow") != 0) {
	    printf("Erreur ajout commande shell o\r\n");
	    Error_Handler();
	}
	/*
	mySemaphore = xSemaphoreCreateBinary();
	xTaskCreate(producerTask, "Producer", 128, NULL, 1, NULL);
	xTaskCreate(consumerTask, "Consumer", 128, NULL, 1, NULL);

	vQueueAddToRegistry(mySemaphore, "MySemaphore");*/

	if (shell_add(&mon_shell, 'x', stats_shell_func, "Affiche les stats FreeRTOS") != 0) {
	    printf("Erreur ajout commande shell x\r\n");
	    Error_Handler();
	}

	vTaskStartScheduler();
  /* USER CODE END 2 */

  /* Call init function for freertos objects (in cmsis_os2.c) */
  MX_FREERTOS_Init();

  /* Start scheduler */
  osKernelStart();

  /* We should never get here as control is now taken by the scheduler */

  /* Infinite loop */
  /* USER CODE BEGIN WHILE */
	while (1)
	{
		//HAL_GPIO_TogglePin(LD2_GPIO_Port, LD2_Pin);
		//HAL_Delay(100);
		if (HAL_GPIO_ReadPin(BUTTON_GPIO_Port, BUTTON_Pin) == GPIO_PIN_SET) {
			HAL_GPIO_WritePin(LED_GPIO_Port, LED_Pin, GPIO_PIN_SET);  // Allume la LED
		} else {
			HAL_GPIO_WritePin(LED_GPIO_Port, LED_Pin, GPIO_PIN_RESET);  // Éteint la LED
		}
		printf("Test printf bien\r\n");
    /* USER CODE END WHILE */

	}
}

void SystemClock_Config(void)
{
  RCC_OscInitTypeDef RCC_OscInitStruct = {0};
  RCC_ClkInitTypeDef RCC_ClkInitStruct = {0};

  /** Configure LSE Drive Capability
  */
  HAL_PWR_EnableBkUpAccess();

  /** Configure the main internal regulator output voltage
  */
  __HAL_RCC_PWR_CLK_ENABLE();
  __HAL_PWR_VOLTAGESCALING_CONFIG(PWR_REGULATOR_VOLTAGE_SCALE1);

  /** Initializes the RCC Oscillators according to the specified parameters
  * in the RCC_OscInitTypeDef structure.
  */
  RCC_OscInitStruct.OscillatorType = RCC_OSCILLATORTYPE_HSE;
  RCC_OscInitStruct.HSEState = RCC_HSE_ON;
  RCC_OscInitStruct.PLL.PLLState = RCC_PLL_ON;
  RCC_OscInitStruct.PLL.PLLSource = RCC_PLLSOURCE_HSE;
  RCC_OscInitStruct.PLL.PLLM = 25;
  RCC_OscInitStruct.PLL.PLLN = 432;
  RCC_OscInitStruct.PLL.PLLP = RCC_PLLP_DIV2;
  RCC_OscInitStruct.PLL.PLLQ = 2;
  if (HAL_RCC_OscConfig(&RCC_OscInitStruct) != HAL_OK)
  {
    Error_Handler();
  }

  /** Activate the Over-Drive mode
  */
  if (HAL_PWREx_EnableOverDrive() != HAL_OK)
  {
    Error_Handler();
  }

  /** Initializes the CPU, AHB and APB buses clocks
  */
  RCC_ClkInitStruct.ClockType = RCC_CLOCKTYPE_HCLK|RCC_CLOCKTYPE_SYSCLK
                              |RCC_CLOCKTYPE_PCLK1|RCC_CLOCKTYPE_PCLK2;
  RCC_ClkInitStruct.SYSCLKSource = RCC_SYSCLKSOURCE_PLLCLK;
  RCC_ClkInitStruct.AHBCLKDivider = RCC_SYSCLK_DIV1;
  RCC_ClkInitStruct.APB1CLKDivider = RCC_HCLK_DIV4;
  RCC_ClkInitStruct.APB2CLKDivider = RCC_HCLK_DIV2;

  if (HAL_RCC_ClockConfig(&RCC_ClkInitStruct, FLASH_LATENCY_7) != HAL_OK)
  {
    Error_Handler();
  }
}

void Error_Handler(void)
{
	__disable_irq();
	while (1)
	{
	}
}
